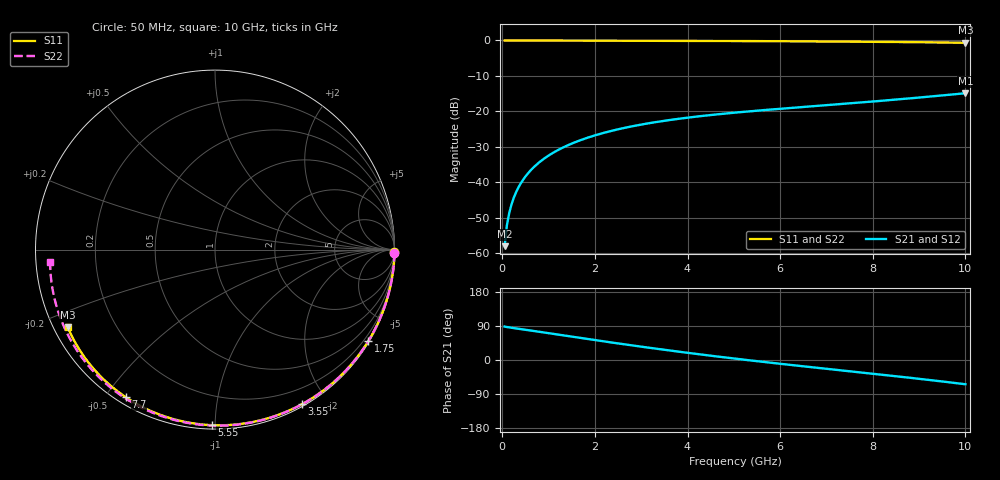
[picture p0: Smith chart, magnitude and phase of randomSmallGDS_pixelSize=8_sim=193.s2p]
! freq	dB(S11)	phase(S11)	dB(S12)	phase(S12)
!  dB(S21)	phase(S21)	dB(S22)	phase(S22)
!S-par simulation data
#  GHz  S  DB  R 50
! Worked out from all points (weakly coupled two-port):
!   200 points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, 50 MHz to 10 GHz, reference 50 ohm
!   highest |S21| = -14.90 dB at 10 GHz (marker M1); lowest = -58.1 dB at 50 MHz (marker M2)
!   lowest |S11| = -0.7 dB at 10 GHz (marker M3), VSWR 26.57, Z = 2 - j12.4 ohm
!   |S11| at or under -10 dB: nowhere
!   |S22| runs from -0.7 to 0.0 dB; largest |S21 - S12| = 0
!   S11 on the Smith chart (normalised r, x): 50 MHz: open; 1.75 GHz: 0.04, -3.63; 3.55 GHz: 0.02, -1.71; 5.55 GHz: 0.02, -0.98; 7.7 GHz: 0.03, -0.56; 10 GHz: 0.04, -0.25
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0.05  -0.00 -0.9  -58.07 88.3  -58.07 88.3  -0.00 -1.0
0.1  -0.00 -1.8  -52.13 87.0  -52.13 87.0  -0.00 -2.0
0.15  -0.00 -2.7  -48.68 85.9  -48.68 85.9  -0.00 -3.1
0.2  -0.00 -3.6  -46.23 85.0  -46.23 85.0  -0.00 -4.1
0.25  -0.00 -4.5  -44.33 84.2  -44.33 84.2  -0.00 -5.1
0.35  -0.00 -6.3  -41.46 82.5  -41.46 82.5  -0.01 -7.1
0.5  -0.01 -8.9  -38.40 79.8  -38.40 79.8  -0.01 -10.1
0.7  -0.02 -12.5  -35.52 76.2  -35.52 76.2  -0.02 -14.2
1  -0.02 -17.8  -32.49 70.7  -32.49 70.7  -0.03 -20.2
1.35  -0.03 -23.9  -29.97 64.3  -29.97 64.3  -0.04 -27.1
1.75  -0.05 -30.8  -27.86 57.0  -27.86 57.0  -0.05 -34.9
2.6  -0.07 -45.2  -24.78 42.0  -24.78 42.0  -0.08 -51.2
3.4  -0.10 -58.3  -22.87 28.6  -22.87 28.6  -0.11 -65.9
3.55  -0.10 -60.7  -22.58 26.1  -22.58 26.1  -0.11 -68.6
4.3  -0.13 -72.4  -21.33 14.4  -21.33 14.4  -0.14 -81.9
5.05  -0.16 -83.8  -20.34 3.3  -20.34 3.3  -0.18 -94.7
5.55  -0.19 -91.1  -19.77 -3.8  -19.77 -3.8  -0.21 -103.0
6.7  -0.26 -107.4  -18.57 -19.3  -18.57 -19.3  -0.29 -121.6
7.7  -0.35 -121.1  -17.55 -32.3  -17.55 -32.3  -0.38 -137.5
8.35  -0.41 -129.9  -16.85 -40.8  -16.85 -40.8  -0.46 -147.9
9.2  -0.52 -141.3  -15.88 -52.4  -15.88 -52.4  -0.57 -161.9
10  -0.65 -152.1  -14.90 -64.0  -14.90 -64.0  -0.71 -175.8
